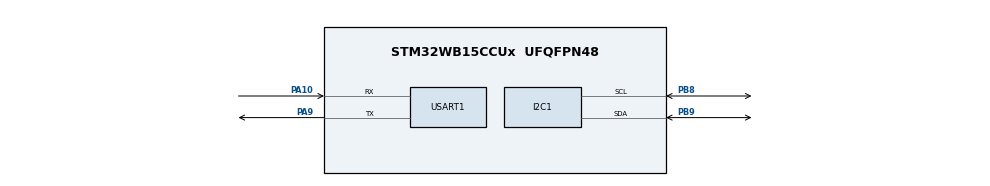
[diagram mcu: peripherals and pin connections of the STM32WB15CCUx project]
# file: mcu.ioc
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I2C1.Timing=0x00100D14
Mcu.Family=STM32WB
Mcu.Name=STM32WB15CCUx
Mcu.Package=UFQFPN48
NVIC.PriorityGroup=NVIC_PRIORITYGROUP_4
PA10.Mode=Asynchronous
PA10.Signal=USART1_RX
PA9.Mode=Asynchronous
PA9.Signal=USART1_TX
PB8.GPIO_Pu=GPIO_PULLUP
PB8.Mode=I2C
PB8.Signal=I2C1_SCL
PB9.GPIO_Pu=GPIO_PULLUP
PB9.Mode=I2C
PB9.Signal=I2C1_SDA
ProjectManager.HeapSize=0x200
ProjectManager.StackSize=0x400
ProjectManager.TargetToolchain=STM32CubeIDE
RCC.APB3Freq_Value=16000000
RCC.HSE_VALUE=8000000
RCC.HSI_VALUE=16000000
RCC.LSE_VALUE=32768
RCC.VCOOutputFreq_Value=32000000
USART1.VirtualMode-Asynchronous=VM_ASYNC
VP_MEMORYMAP_VS_MEMORYMAP.Mode=CurAppReg
board=custom

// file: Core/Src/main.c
/* USER CODE BEGIN Header */
/**
  ******************************************************************************
  * @file           : main.c
  * @brief          : Main program body
  ******************************************************************************
  * @attention
  *
  * Copyright (c) 2025 STMicroelectronics.
  * All rights reserved.
  *
  * This software is licensed under terms that can be found in the LICENSE file
  * in the root directory of this software component.
  * If no LICENSE file comes with this software, it is provided AS-IS.
  *
  ******************************************************************************
  */
/* USER CODE END Header */
#include "main.h"

I2C_HandleTypeDef hi2c1;

UART_HandleTypeDef huart1;

void SystemClock_Config(void);
void PeriphCommonClock_Config(void);
static void MX_GPIO_Init(void);
static void MX_I2C1_Init(void);
static void MX_USART1_UART_Init(void);

/* USER CODE BEGIN 0 */
IMU1_Status init_imu_1();
/* USER CODE END 0 */

int main(void)
{

  /* MCU Configuration--------------------------------------------------------*/

  /* Reset of all peripherals, Initializes the Flash interface and the Systick. */
  HAL_Init();

  /* Configure the system clock */
  SystemClock_Config();

  /* Configure the peripherals common clocks */
  PeriphCommonClock_Config();

  /* Initialize all configured peripherals */
  MX_GPIO_Init();
  MX_I2C1_Init();
  MX_USART1_UART_Init();
  /* USER CODE BEGIN 2 */
  IMU1_Status init_ret_1 = init_imu_1();
  /* USER CODE END 2 */

  /* Infinite loop */
  while (1)
  {

    /* USER CODE BEGIN 3 */
	 if (init_ret_1 != CONNECTED) {
    const char* error_msg = IMU1_status_to_string(init_ret_1);
    HAL_UART_Transmit(&huart1, (uint8_t*) error_msg, strlen(error_msg), 1000);
    HAL_UART_Transmit(&huart1, (uint8_t*)"\r\n", 2, 100);

	 }
	 else {
		get_imu1_data();
	 }

	  // uint8_t tx_buffer[] = "Hello World!!!";
	  // HAL_StatusTypeDef tx_ret = HAL_UART_Transmit(&huart1, tx_buffer, sizeof(tx_buffer), 1000);

	  // if (tx_ret != HAL_OK) {
	  //     printf("TX failed: %d\n", tx_ret);
	  // }
	  HAL_Delay(100);
  }

  /* USER CODE END 3 */
}

void SystemClock_Config(void)
{
  RCC_OscInitTypeDef RCC_OscInitStruct = {0};
  RCC_ClkInitTypeDef RCC_ClkInitStruct = {0};

  /** Initializes the RCC Oscillators according to the specified parameters
  * in the RCC_OscInitTypeDef structure.
  */
  RCC_OscInitStruct.OscillatorType = RCC_OSCILLATORTYPE_HSI|RCC_OSCILLATORTYPE_MSI;
  RCC_OscInitStruct.HSIState = RCC_HSI_ON;
  RCC_OscInitStruct.MSIState = RCC_MSI_ON;
  RCC_OscInitStruct.HSICalibrationValue = RCC_HSICALIBRATION_DEFAULT;
  RCC_OscInitStruct.MSICalibrationValue = RCC_MSICALIBRATION_DEFAULT;
  RCC_OscInitStruct.MSIClockRange = RCC_MSIRANGE_6;
  RCC_OscInitStruct.PLL.PLLState = RCC_PLL_NONE;
  if (HAL_RCC_OscConfig(&RCC_OscInitStruct) != HAL_OK)
  {
    Error_Handler();
  }

  /** Configure the SYSCLKSource, HCLK, PCLK1 and PCLK2 clocks dividers
  */
  RCC_ClkInitStruct.ClockType = RCC_CLOCKTYPE_HCLK4|RCC_CLOCKTYPE_HCLK2
                              |RCC_CLOCKTYPE_HCLK|RCC_CLOCKTYPE_SYSCLK
                              |RCC_CLOCKTYPE_PCLK1|RCC_CLOCKTYPE_PCLK2;
  RCC_ClkInitStruct.SYSCLKSource = RCC_SYSCLKSOURCE_MSI;
  RCC_ClkInitStruct.AHBCLKDivider = RCC_SYSCLK_DIV1;
  RCC_ClkInitStruct.APB1CLKDivider = RCC_HCLK_DIV1;
  RCC_ClkInitStruct.APB2CLKDivider = RCC_HCLK_DIV1;
  RCC_ClkInitStruct.AHBCLK2Divider = RCC_SYSCLK_DIV1;
  RCC_ClkInitStruct.AHBCLK4Divider = RCC_SYSCLK_DIV1;

  if (HAL_RCC_ClockConfig(&RCC_ClkInitStruct, FLASH_LATENCY_0) != HAL_OK)
  {
    Error_Handler();
  }
}

void PeriphCommonClock_Config(void)
{
  RCC_PeriphCLKInitTypeDef PeriphClkInitStruct = {0};

  /** Initializes the peripherals clock
  */
  PeriphClkInitStruct.PeriphClockSelection = RCC_PERIPHCLK_SMPS;
  PeriphClkInitStruct.SmpsClockSelection = RCC_SMPSCLKSOURCE_HSI;
  PeriphClkInitStruct.SmpsDivSelection = RCC_SMPSCLKDIV_RANGE1;

  if (HAL_RCCEx_PeriphCLKConfig(&PeriphClkInitStruct) != HAL_OK)
  {
    Error_Handler();
  }
}

static void MX_I2C1_Init(void)
{

  hi2c1.Instance = I2C1;
  hi2c1.Init.Timing = 0x00100D14;
  hi2c1.Init.OwnAddress1 = 0;
  hi2c1.Init.AddressingMode = I2C_ADDRESSINGMODE_7BIT;
  hi2c1.Init.DualAddressMode = I2C_DUALADDRESS_DISABLE;
  hi2c1.Init.OwnAddress2 = 0;
  hi2c1.Init.OwnAddress2Masks = I2C_OA2_NOMASK;
  hi2c1.Init.GeneralCallMode = I2C_GENERALCALL_DISABLE;
  hi2c1.Init.NoStretchMode = I2C_NOSTRETCH_DISABLE;
  if (HAL_I2C_Init(&hi2c1) != HAL_OK)
  {
    Error_Handler();
  }

  /** Configure Analogue filter
  */
  if (HAL_I2CEx_ConfigAnalogFilter(&hi2c1, I2C_ANALOGFILTER_ENABLE) != HAL_OK)
  {
    Error_Handler();
  }

  /** Configure Digital filter
  */
  if (HAL_I2CEx_ConfigDigitalFilter(&hi2c1, 0) != HAL_OK)
  {
    Error_Handler();
  }

}

static void MX_USART1_UART_Init(void)
{

  huart1.Instance = USART1;
  huart1.Init.BaudRate = 115200;
  huart1.Init.WordLength = UART_WORDLENGTH_8B;
  huart1.Init.StopBits = UART_STOPBITS_1;
  huart1.Init.Parity = UART_PARITY_NONE;
  huart1.Init.Mode = UART_MODE_TX_RX;
  huart1.Init.HwFlowCtl = UART_HWCONTROL_NONE;
  huart1.Init.OverSampling = UART_OVERSAMPLING_16;
  huart1.Init.OneBitSampling = UART_ONE_BIT_SAMPLE_DISABLE;
  huart1.Init.ClockPrescaler = UART_PRESCALER_DIV1;
  huart1.AdvancedInit.AdvFeatureInit = UART_ADVFEATURE_NO_INIT;
  if (HAL_UART_Init(&huart1) != HAL_OK)
  {
    Error_Handler();
  }
  if (HAL_UARTEx_SetTxFifoThreshold(&huart1, UART_TXFIFO_THRESHOLD_1_8) != HAL_OK)
  {
    Error_Handler();
  }
  if (HAL_UARTEx_SetRxFifoThreshold(&huart1, UART_RXFIFO_THRESHOLD_1_8) != HAL_OK)
  {
    Error_Handler();
  }
  if (HAL_UARTEx_DisableFifoMode(&huart1) != HAL_OK)
  {
    Error_Handler();
  }

}

static void MX_GPIO_Init(void)
{

  /* GPIO Ports Clock Enable */
  __HAL_RCC_GPIOB_CLK_ENABLE();
  __HAL_RCC_GPIOA_CLK_ENABLE();

}

/* USER CODE BEGIN 4 */
IMU1_Status init_imu_1() {
  IMU1_Status ret = UNKNOWN;
  uint8_t read_dev_id = 0;
  uint8_t reboot_mem_bm_val = 0x80;
  uint8_t hal_status = HAL_I2C_Mem_Read(&hi2c1, (IMU1_I2C_ADDRESS << 1), IMU1_WHO_AM_I_REGISTER, 1, &read_dev_id, 1, HAL_MAX_DELAY);

  if (hal_status != HAL_OK) {
    ret = hal_status;
  }
  else {
    if (read_dev_id == IMU1_DEVICE_ID) {
      HAL_I2C_Mem_Write(&hi2c1, IMU1_I2C_ADDRESS_WR, IMU1_CTRL3_REG, 1, &reboot_mem_bm_val, 1, HAL_MAX_DELAY); // reboot data in IMU
      ret = CONNECTED;
    } else {
      // return what read_dev_id returned
      // shortcut way
      char read_val[32];
      sprintf(read_val, "Value read: %d (0x%02X)\r\n", read_dev_id, read_dev_id);
      HAL_UART_Transmit(&huart1, (uint8_t*)read_val, strlen(read_val), 1000);
    }
  }
  return ret;
}

void get_imu1_data(void) {
	float raw_accel_ini[3] = {0};
	float raw_ang_ini[3] = {0};
	uint8_t OUTX_L_G = 0x22, OUTX_L_A = 0x28; //Register addresses - lower 8 bits
	uint8_t OUTX_H_G = 0x23, OUTX_H_A = 0x29; //Register addresses - higher 8 bits
	uint8_t OUTY_L_G = 0x24, OUTY_L_A = 0x2A;
	uint8_t OUTY_H_G = 0x25, OUTY_H_A = 0x2B;
	uint8_t OUTZ_L_G = 0x26, OUTZ_L_A = 0x2C;
	uint8_t OUTZ_H_G = 0x27, OUTZ_H_A = 0x2D;
	uint8_t g_buff[6] = {0}, a_buff[6] = {0}, status_buff[8] = {0}; //Temp buffers
	uint8_t acc_stat, gyro_stat;

	//Read data status buffer
	HAL_I2C_Mem_Read(&hi2c1, (IMU1_I2C_ADDRESS << 1), IMU1_STATUS_REG, 1, status_buff, 1, HAL_MAX_DELAY);

	//Set bits of data flags
	acc_stat = status_buff[0] & 0x01;
	gyro_stat = (status_buff[0] >> 1) & 0x01;

	//Acceleration data
	if (acc_stat == 1) { //If new data ready at accelerometer
		//Read accelerometer X data
		HAL_I2C_Mem_Read(&hi2c1, (IMU1_I2C_ADDRESS << 1), OUTX_L_A, 1, &a_buff[0], 1, HAL_MAX_DELAY);
		HAL_I2C_Mem_Read(&hi2c1, (IMU1_I2C_ADDRESS << 1), OUTX_H_A, 1, &a_buff[1], 1, HAL_MAX_DELAY);
		//Read accelerometer Y data
		HAL_I2C_Mem_Read(&hi2c1, (IMU1_I2C_ADDRESS << 1), OUTY_L_A, 1, &a_buff[2], 1, HAL_MAX_DELAY);
		HAL_I2C_Mem_Read(&hi2c1, (IMU1_I2C_ADDRESS << 1), OUTY_H_A, 1, &a_buff[3], 1, HAL_MAX_DELAY);
		//Read accelerometer Z data
		HAL_I2C_Mem_Read(&hi2c1, (IMU1_I2C_ADDRESS << 1), OUTZ_L_A, 1, &a_buff[4], 1, HAL_MAX_DELAY);
		HAL_I2C_Mem_Read(&hi2c1, (IMU1_I2C_ADDRESS << 1), OUTZ_H_A, 1, &a_buff[5], 1, HAL_MAX_DELAY);

		for (int i = 0; i < 3; i++) {
		  raw_accel_ini[i] = (float) ((a_buff[2 * i + 1] << 8) | a_buff[2 * i]);
		  raw_accel_ini[i] = (raw_accel_ini[i] * ACCEL_SENS) / 1000;
		}
	}

	//Gyroscope data
	if (gyro_stat == 1) { //If new data ready at gyro
		//Read gyroscope X data
		HAL_I2C_Mem_Read(&hi2c1, (IMU1_I2C_ADDRESS << 1), OUTX_L_G, 1, &g_buff[0], 1, HAL_MAX_DELAY);
		HAL_I2C_Mem_Read(&hi2c1, (IMU1_I2C_ADDRESS << 1), OUTX_H_G, 1, &g_buff[1], 1, HAL_MAX_DELAY);
		//Read gyroscope Y data
		HAL_I2C_Mem_Read(&hi2c1, (IMU1_I2C_ADDRESS << 1), OUTY_L_G, 1, &g_buff[2], 1, HAL_MAX_DELAY);
		HAL_I2C_Mem_Read(&hi2c1, (IMU1_I2C_ADDRESS << 1), OUTY_H_G, 1, &g_buff[3], 1, HAL_MAX_DELAY);
		//Read gyroscope Z data
		HAL_I2C_Mem_Read(&hi2c1, (IMU1_I2C_ADDRESS << 1), OUTZ_L_G, 1, &g_buff[4], 1, HAL_MAX_DELAY);
		HAL_I2C_Mem_Read(&hi2c1, (IMU1_I2C_ADDRESS << 1), OUTZ_H_G, 1, &g_buff[5], 1, HAL_MAX_DELAY);

		for (int i = 0; i < 3; i++) {
		  raw_ang_ini[i] = (float)((g_buff[2 * i + 1] << 8) | g_buff[2 * i]);
		  raw_ang_ini[i] = (raw_ang_ini[i] * GYRO_SENS) / 1000;
		}
	}

	static uint8_t tx_buffer[100];
	  uint8_t index = 0;
	  tx_buffer[index++] = 0xAA;
	  tx_buffer[index++] = 0xBB;
	  for (int i = 0; i < 3; i++) {
	      memcpy(&tx_buffer[index], &raw_accel_ini[i], sizeof(float));
	      index += sizeof(float);
	    }

	    for (int j = 0; j < 3; j++) {
	      memcpy(&tx_buffer[index], &raw_ang_ini[j], sizeof(float));
	      index += sizeof(float);
	    }
	    HAL_UART_Transmit(&huart1, tx_buffer, index, 1000);

}
/* USER CODE END 4 */

void Error_Handler(void)
{
  __disable_irq();
  while (1)
  {
  }
}
